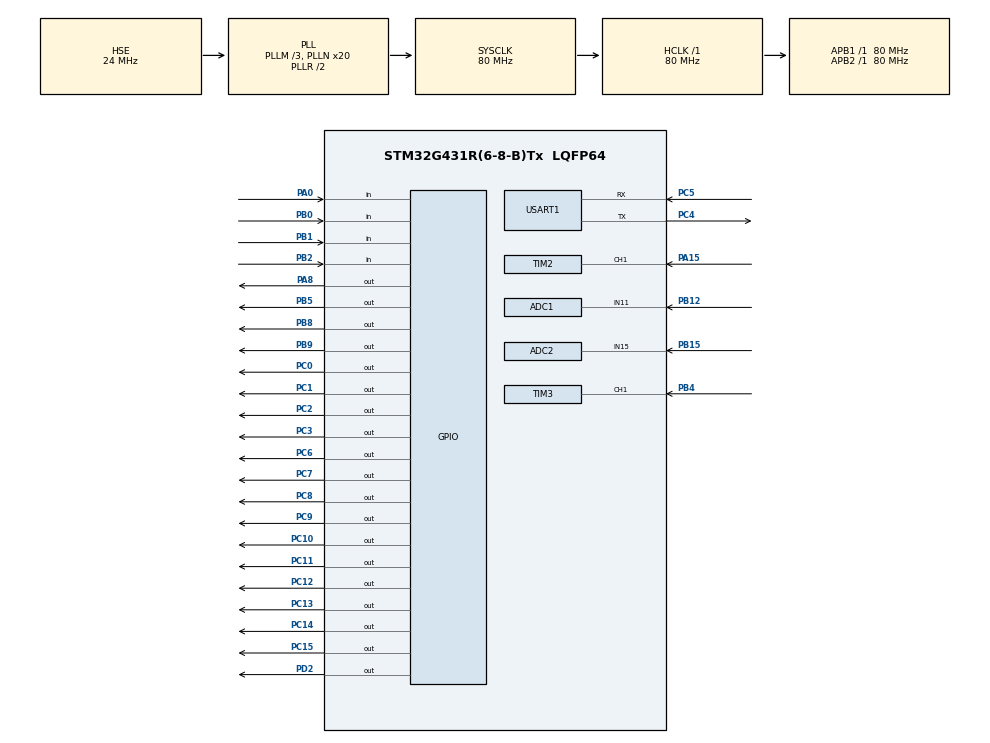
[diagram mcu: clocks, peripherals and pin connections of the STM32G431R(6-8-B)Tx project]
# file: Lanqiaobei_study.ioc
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ADC1.Channel-0\#ChannelRegularConversion=ADC_CHANNEL_11
ADC1.ContinuousConvMode=ENABLE
ADC1.NbrOfConversionFlag=1
ADC1.OffsetNumber-0\#ChannelRegularConversion=ADC_OFFSET_NONE
ADC1.Rank-0\#ChannelRegularConversion=1
ADC1.SamplingTime-0\#ChannelRegularConversion=ADC_SAMPLETIME_92CYCLES_5
ADC1.master=1
ADC2.Channel-0\#ChannelRegularConversion=ADC_CHANNEL_15
ADC2.ContinuousConvMode=ENABLE
ADC2.NbrOfConversionFlag=1
ADC2.SamplingTime-0\#ChannelRegularConversion=ADC_SAMPLETIME_92CYCLES_5
Mcu.Family=STM32G4
Mcu.Name=STM32G431R(6-8-B)Tx
Mcu.Package=LQFP64
NVIC.PriorityGroup=NVIC_PRIORITYGROUP_4
PA0.Signal=GPIO_Input
PA13.Mode=Serial_Wire
PA13.Signal=SYS_JTMS-SWDIO
PA14.Mode=Serial_Wire
PA14.Signal=SYS_JTCK-SWCLK
PA15.Signal=S_TIM2_CH1
PA8.Signal=GPIO_Output
PB0.Signal=GPIO_Input
PB1.Signal=GPIO_Input
PB12.Mode=IN11-Single-Ended
PB12.Signal=ADC1_IN11
PB15.Mode=IN15-Single-Ended
PB15.Signal=ADC2_IN15
PB2.Signal=GPIO_Input
PB4.Signal=S_TIM3_CH1
PB5.Signal=GPIO_Output
PB8-BOOT0.Signal=GPIO_Output
PB9.Signal=GPIO_Output
PC0.Signal=GPIO_Output
PC1.Signal=GPIO_Output
PC10.Signal=GPIO_Output
PC11.Signal=GPIO_Output
PC12.Signal=GPIO_Output
PC13.Signal=GPIO_Output
PC14-OSC32_IN.Signal=GPIO_Output
PC15-OSC32_OUT.Signal=GPIO_Output
PC2.Signal=GPIO_Output
PC3.Signal=GPIO_Output
PC4.Mode=Asynchronous
PC4.Signal=USART1_TX
PC5.Mode=Asynchronous
PC5.Signal=USART1_RX
PC6.Signal=GPIO_Output
PC7.Signal=GPIO_Output
PC8.GPIO_PuPd=GPIO_NOPULL
PC8.Signal=GPIO_Output
PC9.GPIO_PuPd=GPIO_NOPULL
PC9.PinState=GPIO_PIN_RESET
PC9.Signal=GPIO_Output
PD2.GPIO_PuPd=GPIO_NOPULL
PD2.Signal=GPIO_Output
PF0-OSC_IN.Mode=HSE-External-Oscillator
PF0-OSC_IN.Signal=RCC_OSC_IN
PF1-OSC_OUT.Mode=HSE-External-Oscillator
PF1-OSC_OUT.Signal=RCC_OSC_OUT
ProjectManager.HeapSize=0x200
ProjectManager.StackSize=0x400
ProjectManager.TargetToolchain=MDK-ARM V5.32
RCC.ADC12Freq_Value=80000000
RCC.AHBFreq_Value=80000000
RCC.APB1Freq_Value=80000000
RCC.APB1TimFreq_Value=80000000
RCC.APB2Freq_Value=80000000
RCC.APB2TimFreq_Value=80000000
RCC.CortexFreq_Value=80000000
RCC.EXTERNAL_CLOCK_VALUE=12288000
RCC.HCLKFreq_Value=80000000
RCC.HSE_VALUE=24000000
RCC.HSI48_VALUE=48000000
RCC.HSI_VALUE=16000000
RCC.LSE_VALUE=32768
RCC.PLLM=RCC_PLLM_DIV3
RCC.PLLN=20
RCC.PLLSourceVirtual=RCC_PLLSOURCE_HSE
RCC.SYSCLKFreq_VALUE=80000000
RCC.SYSCLKSource=RCC_SYSCLKSOURCE_PLLCLK
RCC.USBFreq_Value=80000000
RCC.VCOOutputFreq_Value=160000000
SH.S_TIM2_CH1.0=TIM2_CH1,Input_Capture1_from_TI1
SH.S_TIM3_CH1.0=TIM3_CH1,Input_Capture1_from_TI1
TIM2.Channel-Input_Capture1_from_TI1=TIM_CHANNEL_1
TIM3.Channel-Input_Capture1_from_TI1=TIM_CHANNEL_1
USART1.VirtualMode-Asynchronous=VM_ASYNC
VP_SYS_VS_DBSignals.Mode=DisableDeadBatterySignals
board=custom

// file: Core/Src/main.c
/* USER CODE BEGIN Header */
/**
  ******************************************************************************
  * @file           : main.c
  * @brief          : Main program body
  ******************************************************************************
  * @attention
  *
  * Copyright (c) 2025 STMicroelectronics.
  * All rights reserved.
  *
  * This software is licensed under terms that can be found in the LICENSE file
  * in the root directory of this software component.
  * If no LICENSE file comes with this software, it is provided AS-IS.
  *
  ******************************************************************************
  */
/* USER CODE END Header */
#include "main.h"
#include "adc.h"
#include "tim.h"
#include "usart.h"
#include "gpio.h"

void SystemClock_Config(void);

int main(void)
{

  /* MCU Configuration--------------------------------------------------------*/

  /* Reset of all peripherals, Initializes the Flash interface and the Systick. */
  HAL_Init();

  /* Configure the system clock */
  SystemClock_Config();

  /* Initialize all configured peripherals */
  MX_GPIO_Init();
  MX_USART1_UART_Init();
  MX_TIM2_Init();
  MX_TIM3_Init();
  MX_ADC1_Init();
  MX_ADC2_Init();
  /* USER CODE BEGIN 2 */
   LCD_Init();

   //ADC初始�?
   HAL_ADCEx_Calibration_Start(&hadc1,ADC_SINGLE_ENDED);
   HAL_ADC_Start(&hadc1);
   HAL_ADCEx_Calibration_Start(&hadc2,ADC_SINGLE_ENDED);
   HAL_ADC_Start(&hadc2);

  /* USER CODE END 2 */

  /* Infinite loop */
  /* USER CODE BEGIN WHILE */
  	LCD_Clear(Blue);
	LCD_SetBackColor(Black);
	LCD_SetTextColor(White);
	uint32_t TX[20];
	HAL_GPIO_WritePin(GPIOD,GPIO_PIN_2,GPIO_PIN_SET);
	HAL_Delay(1);
	HAL_GPIO_WritePin(GPIOC,GPIO_PIN_8,GPIO_PIN_SET);HAL_Delay(1);
	HAL_GPIO_WritePin(GPIOC,GPIO_PIN_9,GPIO_PIN_SET);HAL_Delay(1);
	HAL_GPIO_WritePin(GPIOC,GPIO_PIN_10,GPIO_PIN_SET);HAL_Delay(1);
	HAL_GPIO_WritePin(GPIOC,GPIO_PIN_11,GPIO_PIN_SET);HAL_Delay(1);
	HAL_GPIO_WritePin(GPIOC,GPIO_PIN_12,GPIO_PIN_SET);HAL_Delay(1);
	HAL_GPIO_WritePin(GPIOC,GPIO_PIN_13,GPIO_PIN_SET);HAL_Delay(1);
  while (1)
  {
	TX[0]=HAL_ADC_GetValue(&hadc1);
	LCD_DisplayStringLine(Line0, (uint8_t *)TX);
	LCD_DisplayStringLine(Line1, (uint8_t *)"        DATA        ");
	LCD_DisplayStringLine(Line2, (uint8_t *)"                    ");
	LCD_DisplayStringLine(Line3, (uint8_t *)"     A=             ");
	LCD_DisplayStringLine(Line4, (uint8_t *)"     B=             ");
	LCD_DisplayStringLine(Line5, (uint8_t *)"                    ");
	LCD_DisplayStringLine(Line6, (uint8_t *)"                    ");
	LCD_DisplayStringLine(Line7, (uint8_t *)"                    ");
	LCD_DisplayStringLine(Line8, (uint8_t *)"                    ");
	LCD_DisplayStringLine(Line9, (uint8_t *)"12345678901234567890");
    /* USER CODE END WHILE */

  }
}

void SystemClock_Config(void)
{
  RCC_OscInitTypeDef RCC_OscInitStruct = {0};
  RCC_ClkInitTypeDef RCC_ClkInitStruct = {0};

  /** Configure the main internal regulator output voltage
  */
  HAL_PWREx_ControlVoltageScaling(PWR_REGULATOR_VOLTAGE_SCALE1);

  /** Initializes the RCC Oscillators according to the specified parameters
  * in the RCC_OscInitTypeDef structure.
  */
  RCC_OscInitStruct.OscillatorType = RCC_OSCILLATORTYPE_HSE;
  RCC_OscInitStruct.HSEState = RCC_HSE_ON;
  RCC_OscInitStruct.PLL.PLLState = RCC_PLL_ON;
  RCC_OscInitStruct.PLL.PLLSource = RCC_PLLSOURCE_HSE;
  RCC_OscInitStruct.PLL.PLLM = RCC_PLLM_DIV3;
  RCC_OscInitStruct.PLL.PLLN = 20;
  RCC_OscInitStruct.PLL.PLLP = RCC_PLLP_DIV2;
  RCC_OscInitStruct.PLL.PLLQ = RCC_PLLQ_DIV2;
  RCC_OscInitStruct.PLL.PLLR = RCC_PLLR_DIV2;
  if (HAL_RCC_OscConfig(&RCC_OscInitStruct) != HAL_OK)
  {
    Error_Handler();
  }

  /** Initializes the CPU, AHB and APB buses clocks
  */
  RCC_ClkInitStruct.ClockType = RCC_CLOCKTYPE_HCLK|RCC_CLOCKTYPE_SYSCLK
                              |RCC_CLOCKTYPE_PCLK1|RCC_CLOCKTYPE_PCLK2;
  RCC_ClkInitStruct.SYSCLKSource = RCC_SYSCLKSOURCE_PLLCLK;
  RCC_ClkInitStruct.AHBCLKDivider = RCC_SYSCLK_DIV1;
  RCC_ClkInitStruct.APB1CLKDivider = RCC_HCLK_DIV1;
  RCC_ClkInitStruct.APB2CLKDivider = RCC_HCLK_DIV1;

  if (HAL_RCC_ClockConfig(&RCC_ClkInitStruct, FLASH_LATENCY_2) != HAL_OK)
  {
    Error_Handler();
  }
}

void Error_Handler(void)
{
  __disable_irq();
  while (1)
  {
  }
}
